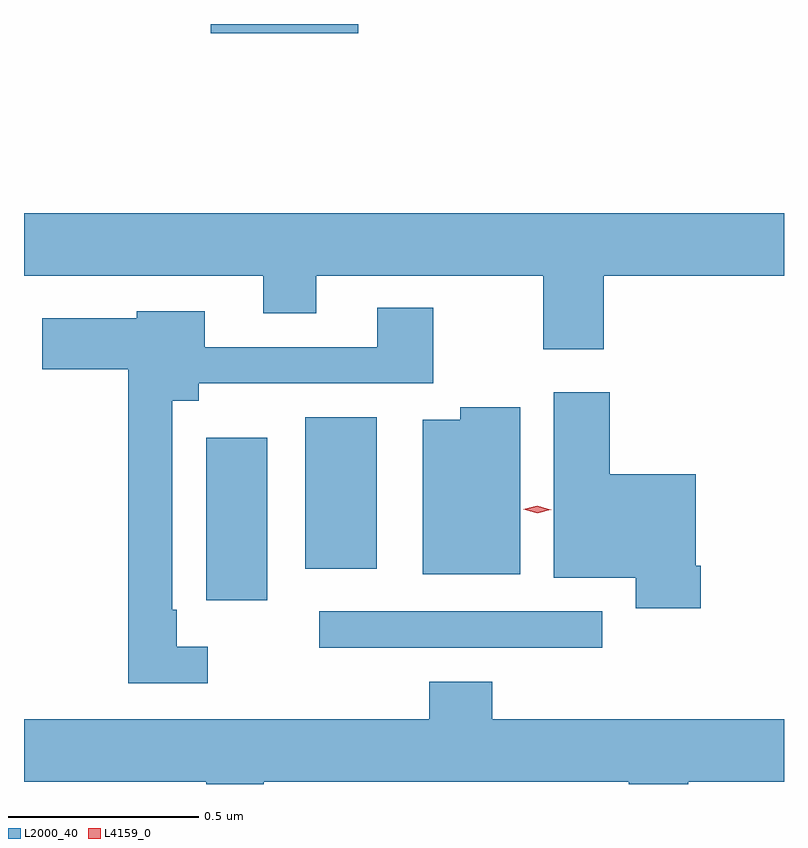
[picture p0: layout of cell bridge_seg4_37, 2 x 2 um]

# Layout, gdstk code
import gdstk
lib = gdstk.Library(unit=1e-6, precision=1e-09)
def R(c, l, rs):  # rectangles x0, y0, x1, y1
    for r in rs: c.add(gdstk.rectangle(r[:2], r[2:], *l))
def P(c, l, *ps):  # polygons
    for p in ps: c.add(gdstk.Polygon(p, *l))
L2000_40 = (2000, 40)
L4159_0 = (4159, 0)

bridge_seg4_37 = lib.new_cell('bridge_seg4_37')
R(bridge_seg4_37, L2000_40, [(749.925,750.552,750.67,750.648), (749.627,750.678,749.788,751.105), (749.888,750.761,750.076,751.159), (749.64,752.17,750.028,752.194)])
P(bridge_seg4_37, L2000_40, [(749.148,751.532),(749.777,751.532),(749.777,751.433),(749.917,751.433),(749.917,751.532),(750.514,751.532),(750.514,751.338),(750.674,751.338),(750.674,751.532),(751.148,751.532),(751.148,751.696),(749.148,751.696)],
  [(749.632,750.555),(749.55,750.555),(749.55,750.652),(749.538,750.652),(749.538,751.202),(749.608,751.202),(749.608,751.248),(750.225,751.248),(750.225,751.447),(750.077,751.447),(750.077,751.344),(749.623,751.344),(749.623,751.438),(749.445,751.438),(749.445,751.42),(749.196,751.42),(749.196,751.286),(749.422,751.286),(749.422,750.459),(749.632,750.459)],
  [(750.929,750.769),(750.916,750.769),(750.916,751.009),(750.689,751.009),(750.689,751.225),(750.542,751.225),(750.542,750.737),(750.758,750.737),(750.758,750.657),(750.929,750.657)],
  [(750.454,751.186),(750.296,751.186),(750.296,751.153),(750.197,751.153),(750.197,750.746),(750.454,750.746)],
  [(749.779,750.2),(750.739,750.2),(750.739,750.194),(750.896,750.194),(750.896,750.2),(751.148,750.2),(751.148,750.364),(750.38,750.364),(750.38,750.463),(750.215,750.463),(750.215,750.364),(749.148,750.364),(749.148,750.2),(749.627,750.2),(749.627,750.194),(749.779,750.194)])
P(bridge_seg4_37, L4159_0, [(750.498,750.906),(750.462,750.917),(750.462,750.917),(750.462,750.917),(750.498,750.926),(750.534,750.916),(750.535,750.916),(750.534,750.916)])

lib.write_gds('bridge_seg4_37.gds')
